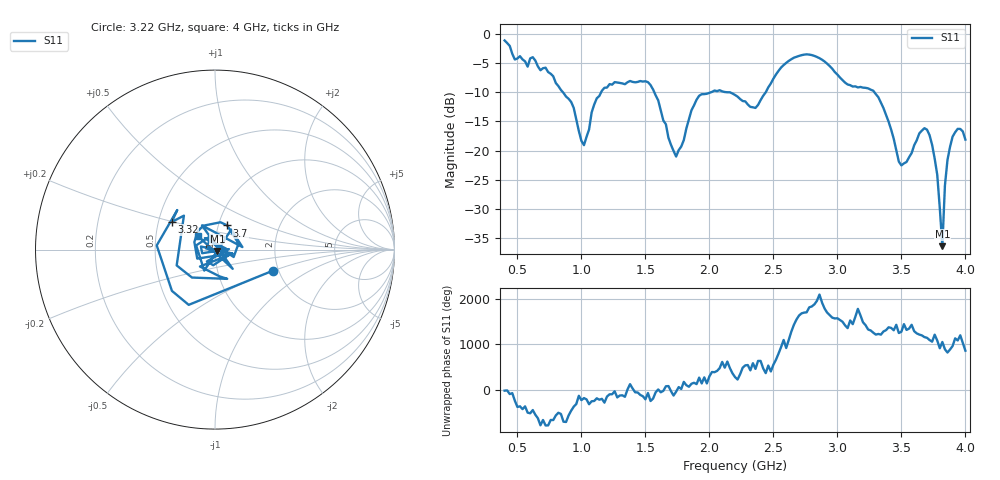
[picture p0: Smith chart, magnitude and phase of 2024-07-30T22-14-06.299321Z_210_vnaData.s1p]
!Created with skrf (http://scikit-rf.org).
# Hz S RI R 50.0
!freq ReS11 ImS11
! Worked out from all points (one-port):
!   181 points, 400 MHz to 4 GHz, reference 50 ohm
!   lowest |S11| = -36.4 dB at 3.82 GHz (marker M1), VSWR 1.03, Z = 51.4 - j0.727 ohm
!   |S11| at or under -10 dB: 1.569 GHz to 2.014 GHz (444.9 MHz wide, 24.8 % of centre); 2.133 GHz to 2.441 GHz (308 MHz wide, 13.5 % of centre); 3.289 GHz to end of sweep (the widest 3 of 4)
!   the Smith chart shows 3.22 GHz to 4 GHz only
!   S11 on the Smith chart (normalised r, x): 3.22 GHz: 1.87, -0.50; 3.32 GHz: 0.59, +0.20; 3.7 GHz: 1.10, +0.30; 4 GHz: 0.81, +0.13
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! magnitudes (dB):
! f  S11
! 400 MHz  -1.1
! 480 MHz  -4.4
! 620 MHz  -4.0
! 860 MHz  -10.1
! 940 MHz  -12.7
! 1.02 GHz  -19.1
! 1.12 GHz  -11.1
! 1.3 GHz  -8.4
! 1.54 GHz  -8.8
! 1.72 GHz  -20.1
! 1.76 GHz  -19.9
! 1.92 GHz  -10.6
! 2.2 GHz  -10.5
! 2.36 GHz  -12.7
! 2.66 GHz  -4.1
! 2.86 GHz  -4.2
! 3.1 GHz  -8.8
! 3.22 GHz  -9.3
! 3.32 GHz  -10.9
! 3.48 GHz  -21.9
! 3.56 GHz  -21.1
! 3.7 GHz  -16.4
! 3.78 GHz  -24.1
! 3.82 GHz  -36.4
! 3.84 GHz  -26.0
! 3.88 GHz  -19.4
! 3.94 GHz  -16.3
! 4 GHz  -18.1
